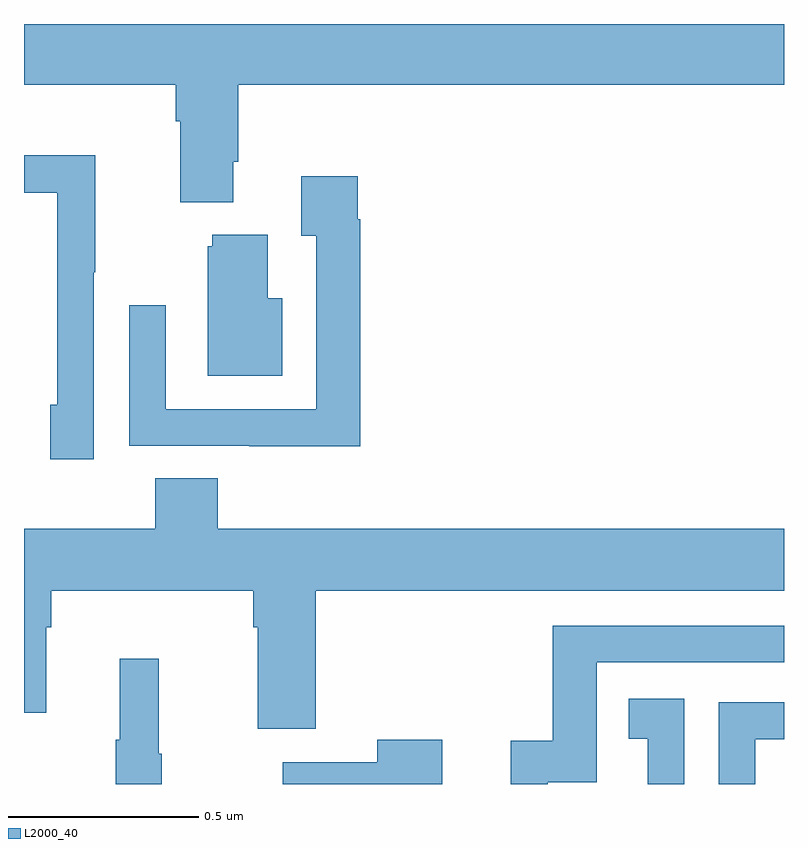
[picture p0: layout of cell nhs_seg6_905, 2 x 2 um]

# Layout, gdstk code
import gdstk
lib = gdstk.Library(unit=1e-6, precision=1e-09)
def P(c, l, *ps):  # polygons
    for p in ps: c.add(gdstk.Polygon(p, *l))
L2000_40 = (2000, 40)

nhs_seg6_905 = lib.new_cell('nhs_seg6_905')
P(nhs_seg6_905, L2000_40, [(122.551,943.138),(122.564,943.138),(122.564,943.34),(124,943.34),(124,943.5),(122,943.5),(122,943.34),(122.399,943.34),(122.399,943.244),(122.411,943.244),(122.411,943.031),(122.551,943.031)],
  [(122.184,942.847),(122.187,942.847),(122.187,943.154),(122,943.154),(122,943.056),(122.088,943.056),(122.088,942.498),(122.069,942.498),(122.069,942.354),(122.184,942.354)],
  [(122.885,942.986),(122.878,942.986),(122.878,943.099),(122.729,943.099),(122.729,942.943),(122.769,942.943),(122.769,942.486),(122.373,942.486),(122.373,942.76),(122.277,942.76),(122.277,942.39),(122.593,942.39),(122.593,942.389),(122.885,942.389)],
  [(122.68,942.778),(122.641,942.778),(122.641,942.946),(122.495,942.946),(122.495,942.915),(122.483,942.915),(122.483,942.575),(122.68,942.575)],
  [(122.768,942.008),(124,942.008),(124,942.172),(122.51,942.172),(122.51,942.305),(122.345,942.305),(122.345,942.172),(122,942.172),(122,941.688),(122.059,941.688),(122.059,941.912),(122.072,941.912),(122.072,942.008),(122.603,942.008),(122.603,941.912),(122.615,941.912),(122.615,941.646),(122.768,941.646)],
  [(123.378,941.505),(123.507,941.505),(123.507,941.82),(124,941.82),(124,941.916),(123.391,941.916),(123.391,941.614),(123.281,941.614),(123.281,941.5),(123.378,941.5)],
  [(122.362,941.58),(122.354,941.58),(122.354,941.83),(122.252,941.83),(122.252,941.617),(122.241,941.617),(122.241,941.5),(122.362,941.5)],
  [(123.738,941.725),(123.592,941.725),(123.592,941.619),(123.641,941.619),(123.641,941.5),(123.738,941.5)],
  [(123.924,941.618),(124,941.618),(124,941.715),(123.828,941.715),(123.828,941.5),(123.924,941.5)],
  [(123.1,941.617),(122.93,941.617),(122.93,941.557),(122.681,941.557),(122.681,941.5),(123.1,941.5)])

lib.write_gds('nhs_seg6_905.gds')
